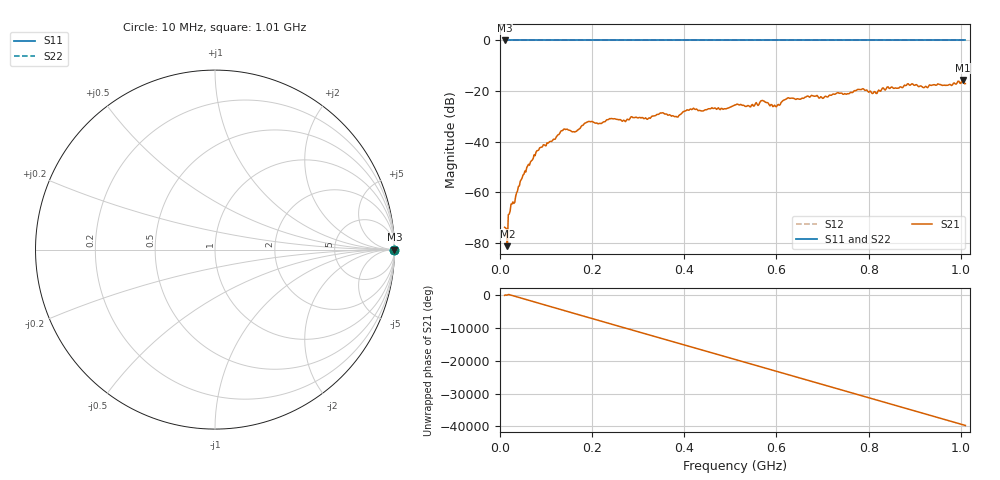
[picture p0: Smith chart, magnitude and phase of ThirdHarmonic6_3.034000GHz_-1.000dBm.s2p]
! 8/17/2025 8:46:08 AM
! C:\ANRITSUVNA\TEMP\TEMP.S2P
! CHANNEL.1
! TR.MEASUREMENT
! RAW.DATA
! RF.CORRECTION.OFF
! AVERAGING.OFF
! IF.BANDWIDTH: 5KHZ
! SWEEPTYPE:  FREQ.SWEEP(Linear)
! Reference Plane Port Info
! PORT:  PORT1  PORT2
! DISTANCE:  0  m  0  m
! TIME:  0  s  0  s
! PHASE.OFFSET:  0  deg.  0  deg.
! LOSS:  0  dB  0  dB
! REF.LOSS:  0  dB  0  dB
! REF.FREQ:  0  Hz  0  Hz
! Power Info
! POWER:  -20  dBm  -20  dBm
! EFF.POWER:  -20  dBm  -20  dBm
! SOURCE.ATTEN:  0  dB  0  dB
! TEST.ATTEN:  0  dB  0  dB
# GHZ S RI R 50.0
! FREQ.GHZ  S11RE  S11IM  S21RE  S21IM  S12RE  S12IM  S22RE  S22IM
!; PortSelection: Port_12
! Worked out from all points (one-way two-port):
!   501 points, 10 MHz to 1.01 GHz, reference 50 ohm
!   highest |S21| = -15.64 dB at 1.004 GHz (marker M1); lowest = -81.4 dB at 16 MHz (marker M2)
!   lowest |S11| = 0.0 dB at 10 MHz (marker M3)
!   |S11| at or under -10 dB: nowhere
!   |S22| runs from 0.0 to 0.0 dB; largest |S21 - S12| = 1.2
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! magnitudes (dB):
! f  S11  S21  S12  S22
! 10 MHz  0.0  -73.9  0.0  0.0
! 12 MHz  0.0  -74.1  0.0  0.0
! 16 MHz  0.0  -81.4  0.0  0.0
! 22 MHz  0.0  -67.4  0.0  0.0
! 48 MHz  0.0  -54.4  0.0  0.0
! 82 MHz  0.0  -43.5  0.0  0.0
! 136 MHz  0.0  -35.6  0.0  0.0
! 162 MHz  0.0  -36.2  0.0  0.0
! 178 MHz  0.0  -33.7  0.0  0.0
! 344 MHz  0.0  -29.2  0.0  0.0
! 382 MHz  0.0  -30.0  0.0  0.0
! 416 MHz  0.0  -27.4  0.0  0.0
! 510 MHz  0.0  -25.5  0.0  0.0
! 570 MHz  0.0  -23.7  0.0  0.0
! 596 MHz  0.0  -25.6  0.0  0.0
! 624 MHz  0.0  -22.8  0.0  0.0
! 678 MHz  0.0  -21.9  0.0  0.0
! 784 MHz  0.0  -19.5  0.0  0.0
! 814 MHz  0.0  -20.3  0.0  0.0
! 844 MHz  0.0  -18.8  0.0  0.0
! 1.004 GHz  0.0  -15.6  0.0  0.0
! 1.01 GHz  0.0  -17.1  0.0  0.0
